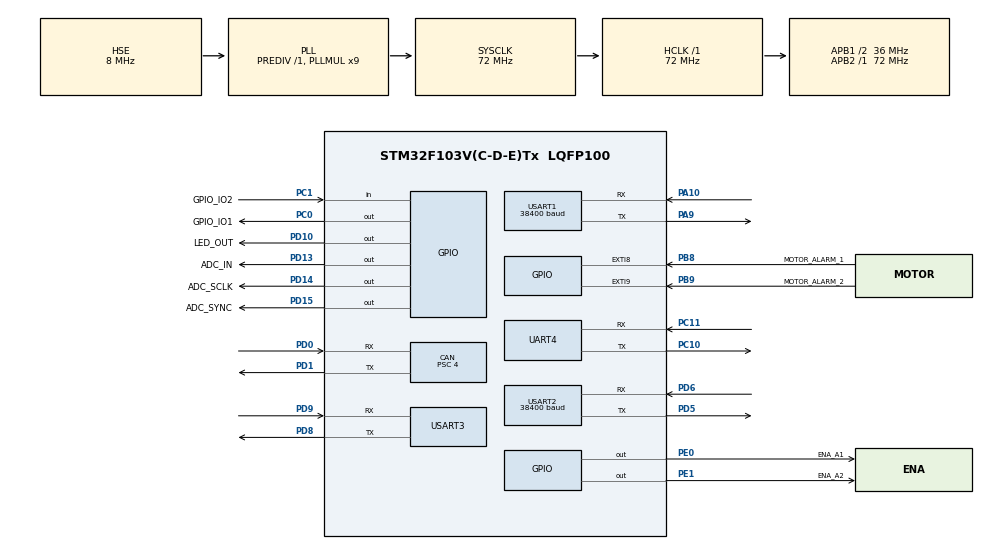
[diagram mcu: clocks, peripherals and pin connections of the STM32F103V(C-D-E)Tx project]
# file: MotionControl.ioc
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CAN.BS1=CAN_BS1_9TQ
CAN.BS2=CAN_BS2_8TQ
CAN.CalculateTimeBit=2000
CAN.CalculateTimeQuantum=111.11111111111111
CAN.Prescaler=4
Mcu.Family=STM32F1
Mcu.Name=STM32F103V(C-D-E)Tx
Mcu.Package=LQFP100
NVIC.EXTI9_5_IRQn=true\:0\:0\:false\:false\:true
NVIC.PriorityGroup=NVIC_PRIORITYGROUP_4
NVIC.UART4_IRQn=true\:0\:0\:false\:false\:true
NVIC.USART1_IRQn=true\:0\:0\:false\:false\:true
NVIC.USART2_IRQn=true\:0\:0\:false\:false\:true
NVIC.USART3_IRQn=true\:0\:0\:false\:false\:true
NVIC.USB_LP_CAN1_RX0_IRQn=true\:0\:0\:false\:false\:true
OSC_IN.Mode=HSE-External-Oscillator
OSC_IN.Signal=RCC_OSC_IN
OSC_OUT.Mode=HSE-External-Oscillator
OSC_OUT.Signal=RCC_OSC_OUT
PA10.Mode=Asynchronous
PA10.Signal=USART1_RX
PA13.Mode=JTAG_5_pins
PA13.Signal=SYS_JTMS-SWDIO
PA14.Mode=JTAG_5_pins
PA14.Signal=SYS_JTCK-SWCLK
PA15.Mode=JTAG_5_pins
PA15.Signal=SYS_JTDI
PA9.Mode=Asynchronous
PA9.Signal=USART1_TX
PB3.Mode=JTAG_5_pins
PB3.Signal=SYS_JTDO-TRACESWO
PB4.Mode=JTAG_5_pins
PB4.Signal=SYS_NJTRST
PB8.GPIO_Label=MOTOR_ALARM_1
PB8.GPIO_ModeDefaultEXTI=GPIO_MODE_IT_FALLING
PB8.Signal=GPXTI8
PB9.GPIO_Label=MOTOR_ALARM_2
PB9.GPIO_ModeDefaultEXTI=GPIO_MODE_IT_FALLING
PB9.GPIO_PuPd=GPIO_NOPULL
PB9.Signal=GPXTI9
PC0.GPIO_Label=GPIO_IO1
PC0.GPIO_Speed=GPIO_SPEED_FREQ_HIGH
PC0.Signal=GPIO_Output
PC1.GPIO_Label=GPIO_IO2
PC1.GPIO_PuPd=GPIO_PULLDOWN
PC1.Signal=GPIO_Input
PC10.Mode=Asynchronous
PC10.Signal=UART4_TX
PC11.Mode=Asynchronous
PC11.Signal=UART4_RX
PD0.Mode=Master
PD0.Signal=CAN_RX
PD1.Mode=Master
PD1.Signal=CAN_TX
PD10.GPIO_Label=LED_OUT
PD10.GPIO_Speed=GPIO_SPEED_FREQ_HIGH
PD10.Signal=GPIO_Output
PD13.GPIO_Label=ADC_IN
PD13.GPIO_Speed=GPIO_SPEED_FREQ_HIGH
PD13.Signal=GPIO_Output
PD14.GPIO_Label=ADC_SCLK
PD14.GPIO_Speed=GPIO_SPEED_FREQ_HIGH
PD14.Signal=GPIO_Output
PD15.GPIO_Label=ADC_SYNC
PD15.GPIO_Speed=GPIO_SPEED_FREQ_HIGH
PD15.Signal=GPIO_Output
PD5.Mode=Asynchronous
PD5.Signal=USART2_TX
PD6.Mode=Asynchronous
PD6.Signal=USART2_RX
PD8.Mode=Asynchronous
PD8.Signal=USART3_TX
PD9.Mode=Asynchronous
PD9.Signal=USART3_RX
PE0.GPIO_Label=ENA_A1
PE0.GPIO_Speed=GPIO_SPEED_FREQ_HIGH
PE0.Signal=GPIO_Output
PE1.GPIO_Label=ENA_A2
PE1.GPIO_Speed=GPIO_SPEED_FREQ_HIGH
PE1.Signal=GPIO_Output
ProjectManager.HeapSize=0x200
ProjectManager.StackSize=0x4000
ProjectManager.TargetToolchain=MDK-ARM V5
RCC.AHBFreq_Value=72000000
RCC.APB1CLKDivider=RCC_HCLK_DIV2
RCC.APB1Freq_Value=36000000
RCC.APB1TimFreq_Value=72000000
RCC.APB2Freq_Value=72000000
RCC.APB2TimFreq_Value=72000000
RCC.HCLKFreq_Value=72000000
RCC.PLLMUL=RCC_PLL_MUL9
RCC.PLLSourceVirtual=RCC_PLLSOURCE_HSE
RCC.SYSCLKFreq_VALUE=72000000
RCC.SYSCLKSource=RCC_SYSCLKSOURCE_PLLCLK
RCC.USBFreq_Value=72000000
UART4.VirtualMode=Asynchronous
USART1.BaudRate=38400
USART1.VirtualMode=VM_ASYNC
USART2.BaudRate=38400
USART2.VirtualMode=VM_ASYNC
USART3.VirtualMode=VM_ASYNC
board=MotionControl

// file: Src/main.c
/**
  ******************************************************************************
  * File Name          : main.c
  * Description        : Main program body
  ******************************************************************************
  *
  * COPYRIGHT(c) 2018 STMicroelectronics
  *
  * Redistribution and use in source and binary forms, with or without modification,
  * are permitted provided that the following conditions are met:
  *   1. Redistributions of source code must retain the above copyright notice,
  *      this list of conditions and the following disclaimer.
  *   2. Redistributions in binary form must reproduce the above copyright notice,
  *      this list of conditions and the following disclaimer in the documentation
  *      and/or other materials provided with the distribution.
  *   3. Neither the name of STMicroelectronics nor the names of its contributors
  *      may be used to endorse or promote products derived from this software
  *      without specific prior written permission.
  *
  * THIS SOFTWARE IS PROVIDED BY THE COPYRIGHT HOLDERS AND CONTRIBUTORS "AS IS"
  * AND ANY EXPRESS OR IMPLIED WARRANTIES, INCLUDING, BUT NOT LIMITED TO, THE
  * IMPLIED WARRANTIES OF MERCHANTABILITY AND FITNESS FOR A PARTICULAR PURPOSE ARE
  * DISCLAIMED. IN NO EVENT SHALL THE COPYRIGHT HOLDER OR CONTRIBUTORS BE LIABLE
  * FOR ANY DIRECT, INDIRECT, INCIDENTAL, SPECIAL, EXEMPLARY, OR CONSEQUENTIAL
  * DAMAGES (INCLUDING, BUT NOT LIMITED TO, PROCUREMENT OF SUBSTITUTE GOODS OR
  * SERVICES; LOSS OF USE, DATA, OR PROFITS; OR BUSINESS INTERRUPTION) HOWEVER
  * CAUSED AND ON ANY THEORY OF LIABILITY, WHETHER IN CONTRACT, STRICT LIABILITY,
  * OR TORT (INCLUDING NEGLIGENCE OR OTHERWISE) ARISING IN ANY WAY OUT OF THE USE
  * OF THIS SOFTWARE, EVEN IF ADVISED OF THE POSSIBILITY OF SUCH DAMAGE.
  *
  ******************************************************************************
  */
#include "main.h"
#include "stm32f1xx_hal.h"
#include "can.h"
#include "usart.h"
#include "gpio.h"

/* USER CODE BEGIN Includes */
#include "motor_driver.h"
#include "pid_control.h"
/* USER CODE END Includes */

/* USER CODE BEGIN PV */
/* Private variables ---------------------------------------------------------*/

/* USER CODE END PV */

void SystemClock_Config(void);
void Error_Handler(void);

/* USER CODE BEGIN PFP */
/* Private function prototypes -----------------------------------------------*/

/* USER CODE END PFP */

/* USER CODE BEGIN 0 */
#ifdef __GNUC__
/* With GCC/RAISONANCE, small printf (option LD Linker->Libraries->Small printf
   set to 'Yes') calls __io_putchar() */
#define PUTCHAR_PROTOTYPE int __io_putchar(int ch)
#else
#define PUTCHAR_PROTOTYPE int fputc(int ch, FILE *f)
#endif /* __GNUC__ */
/* USER CODE END 0 */

int main(void)
{

  /* MCU Configuration----------------------------------------------------------*/

  /* Reset of all peripherals, Initializes the Flash interface and the Systick. */
  HAL_Init();

  /* Configure the system clock */
  SystemClock_Config();

  /* Initialize all configured peripherals */
  MX_GPIO_Init();
  MX_UART4_Init();
  MX_USART1_UART_Init();
  MX_USART2_UART_Init();
  MX_USART3_UART_Init();
  MX_CAN_Init();

  /* USER CODE BEGIN 2 */
  HAL_GPIO_WritePin(GPIO_IO1_GPIO_Port, GPIO_IO1_Pin, GPIO_PIN_SET);

  HAL_Delay(4000);
	initMotorDriver();

	if(HAL_GPIO_ReadPin(GPIO_IO2_GPIO_Port,GPIO_IO2_Pin))
	{
		SetControlMode(SPEED_CMD_MODE);
	}
  else
  {
    SetControlMode(FORCE_CLOSE_MODE);
    //SetControlMode(SPEED_CMD_MODE);
  }
  /* USER CODE END 2 */

  /* Infinite loop */
  /* USER CODE BEGIN WHILE */

  //printf("program start...\n");
  while (1)
  {
    RunMotorControlMachine(GetControlMode());

  /* USER CODE END WHILE */

  }

}

/** System Clock Configuration
*/
void SystemClock_Config(void)
{

  RCC_OscInitTypeDef RCC_OscInitStruct;
  RCC_ClkInitTypeDef RCC_ClkInitStruct;

    /**Initializes the CPU, AHB and APB busses clocks
    */
  RCC_OscInitStruct.OscillatorType = RCC_OSCILLATORTYPE_HSE;
  RCC_OscInitStruct.HSEState = RCC_HSE_ON;
  RCC_OscInitStruct.HSEPredivValue = RCC_HSE_PREDIV_DIV1;
  RCC_OscInitStruct.HSIState = RCC_HSI_ON;
  RCC_OscInitStruct.PLL.PLLState = RCC_PLL_ON;
  RCC_OscInitStruct.PLL.PLLSource = RCC_PLLSOURCE_HSE;
  RCC_OscInitStruct.PLL.PLLMUL = RCC_PLL_MUL9;
  if (HAL_RCC_OscConfig(&RCC_OscInitStruct) != HAL_OK)
  {
    Error_Handler();
  }

    /**Initializes the CPU, AHB and APB busses clocks
    */
  RCC_ClkInitStruct.ClockType = RCC_CLOCKTYPE_HCLK|RCC_CLOCKTYPE_SYSCLK
                              |RCC_CLOCKTYPE_PCLK1|RCC_CLOCKTYPE_PCLK2;
  RCC_ClkInitStruct.SYSCLKSource = RCC_SYSCLKSOURCE_PLLCLK;
  RCC_ClkInitStruct.AHBCLKDivider = RCC_SYSCLK_DIV1;
  RCC_ClkInitStruct.APB1CLKDivider = RCC_HCLK_DIV2;
  RCC_ClkInitStruct.APB2CLKDivider = RCC_HCLK_DIV1;

  if (HAL_RCC_ClockConfig(&RCC_ClkInitStruct, FLASH_LATENCY_2) != HAL_OK)
  {
    Error_Handler();
  }

    /**Configure the Systick interrupt time
    */
  HAL_SYSTICK_Config(HAL_RCC_GetHCLKFreq()/1000);

    /**Configure the Systick
    */
  HAL_SYSTICK_CLKSourceConfig(SYSTICK_CLKSOURCE_HCLK);

  /* SysTick_IRQn interrupt configuration */
  HAL_NVIC_SetPriority(SysTick_IRQn, 0, 0);
}

/* USER CODE BEGIN 4 */
/**
  * @brief  Retargets the C library printf function to the USART.
  * @param  None
  * @retval None
  */
PUTCHAR_PROTOTYPE
{
  /* Place your implementation of fputc here */
  /* e.g. write a character to the USART1 and Loop until the end of transmission */
  HAL_UART_Transmit(&huart4, (uint8_t *)&ch, 1, 0xFFFF);
	//ITM_SendChar(ch);
	return ch;
}
/* USER CODE END 4 */

void Error_Handler(void)
{
  while(1)
  {
  }
}

/************************ (C) COPYRIGHT STMicroelectronics *****END OF FILE****/
